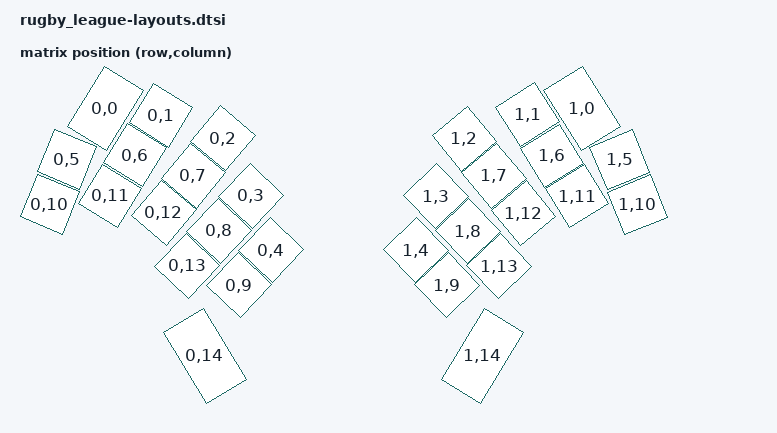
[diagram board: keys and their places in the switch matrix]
#include <physical_layouts.dtsi>

    /* Physical layout close to this:
     *
     * ┌───┬───┬───┬───┐          ┌───┬───┬───┬───┐
     * │ Q │ W │ E │ R ├───┐  ┌───┤ U │ I │ O │ P │
     * ├───┼───┼───┼───┤ T │  │ Y ├───┼───┼───┼───┤
     * │ A │ S │ D │ F ├───┤  ├───┤ J │ K │ L │ ; │
     * ├───┼───┼───┼───┤ G │  │ H ├───┼───┼───┼───┤
     * │ Z │ X │ C │ V ├───┘  └───┤ M │ , │ . │ / │
     * └───┴───┴───┴───┘          └───┴───┴───┴───┘
     *                 ┌───┐  ┌───┐
     *                 │ B │  │ N │
     *                 └───┘  └───┘
     *
     * Logical rows as used in the DTSI file:
     *
     * Q        W       E       R       T          Y       U       I       O       P
     * A        S       D       F       G          H       J       K       L       ;
     * Z        X       C       V       B          N       M       ,       .       /
     *
     * The RC(#, #) columns and row value below are the direct wired scanning matrix
     * where row 0 is left, row 1 is right, and columns 0 to 14 are the 15 GPIOs.
     */

/ {

    matrix_transform30: matrix_transform30 {
        compatible = "zmk,matrix-transform";
        columns = <10>;
        rows = <15>;
        map = <
            RC(0,0)  RC(0,1)  RC(0,2)  RC(0,3)  RC(0,4)     RC(1,4)  RC(1,3)  RC(1,2)  RC(1,1)  RC(1,0)
            RC(0,5)  RC(0,6)  RC(0,7)  RC(0,8)  RC(0,9)     RC(1,9)  RC(1,8)  RC(1,7)  RC(1,6)  RC(1,5)
            RC(0,10) RC(0,11) RC(0,12) RC(0,13) RC(0,14)    RC(1,14) RC(1,13) RC(1,12) RC(1,11) RC(1,10)
        >;
    };

    physical_layout30: physical_layout30 {
        compatible = "zmk,physical-layout";
        display-name = "LAYOUT";

        kscan = <&kscan0>;
        transform = <&matrix_transform30>;

        keys  //                     w   h    x    y     rot    rx    ry
            = <&key_physical_attrs 100 150  114    0    3200   164    69>
            , <&key_physical_attrs 100 100  223   36    3200   269    86>
            , <&key_physical_attrs 100 100  346   84    4000   396   134>
            , <&key_physical_attrs 100 100  403  199    4400   453   249>
            , <&key_physical_attrs 100 100  443  308    4400   493   358>
            , <&key_physical_attrs 100 100  732  308 (-4400)   782   358>
            , <&key_physical_attrs 100 100  772  200 (-4400)   822   250>
            , <&key_physical_attrs 100 100  829   85 (-4000)   879   135>
            , <&key_physical_attrs 100 100  955   36 (-3200)  1006    86>
            , <&key_physical_attrs 100 150 1061    0 (-3200)  1111    70>
            , <&key_physical_attrs 100 100   34  126    2200    84   176>
            , <&key_physical_attrs 100 100  170  118    3200   220   168>
            , <&key_physical_attrs 100 100  287  159    4000   337   209>
            , <&key_physical_attrs 100 100  339  269    4400   389   319>
            , <&key_physical_attrs 100 100  379  378    4400   429   428>
            , <&key_physical_attrs 100 100  795  378 (-4400)   845   428>
            , <&key_physical_attrs 100 100  836  270 (-4400)   886   320>
            , <&key_physical_attrs 100 100  888  159 (-4000)   938   209>
            , <&key_physical_attrs 100 100 1004  119 (-3200)  1054   169>
            , <&key_physical_attrs 100 100 1140  127 (-2200)  1190   177>
            , <&key_physical_attrs 100 100    0  216    2200    50   266>
            , <&key_physical_attrs 100 100  120  200    3200   172   250>
            , <&key_physical_attrs 100 100  228  233    4000   278   283>
            , <&key_physical_attrs 100 100  275  339    4400   325   389>
            , <&key_physical_attrs 175 100  272  520    5900   360   570>
            , <&key_physical_attrs 175 100  828  520 (-5900)   915   570>
            , <&key_physical_attrs 100 100  899  340 (-4400)   949   390>
            , <&key_physical_attrs 100 100  947  234 (-4000)   997   284>
            , <&key_physical_attrs 100 100 1055  201 (-3200)  1103   251>
            , <&key_physical_attrs 100 100 1175  217 (-2200)  1225   267>
            ;
    };
};

/ {
    chosen {
        zmk,kscan = &kscan0;
        zmk,physical-layout = &physical_layout30;
    };
};

